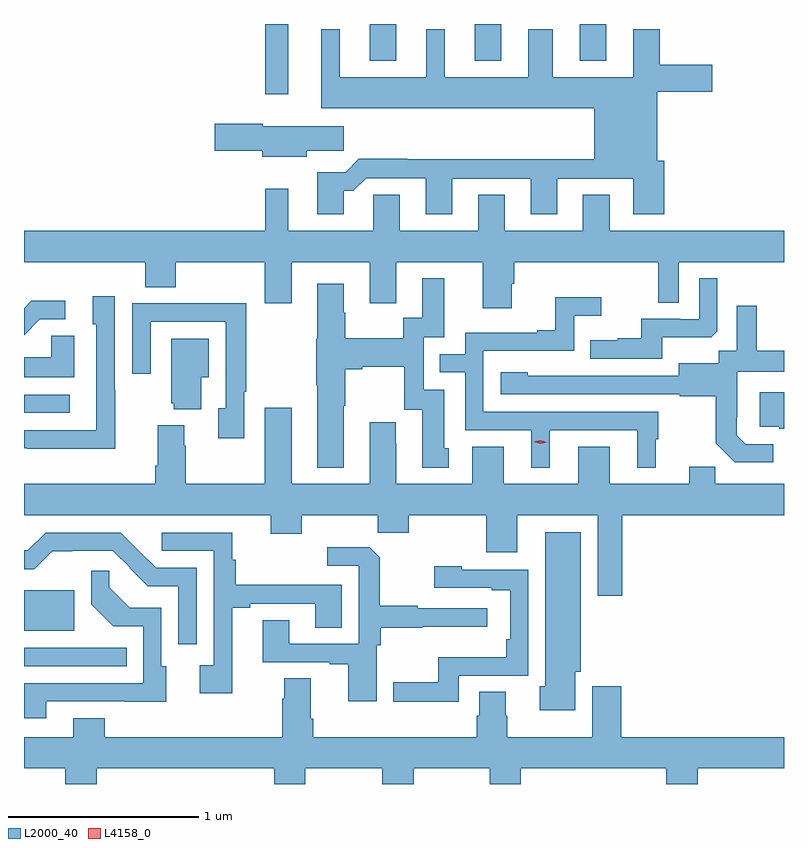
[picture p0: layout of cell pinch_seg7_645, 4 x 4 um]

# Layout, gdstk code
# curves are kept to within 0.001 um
import gdstk
lib = gdstk.Library(unit=1e-6, precision=1e-09)
def R(c, l, rs):  # rectangles x0, y0, x1, y1
    for r in rs: c.add(gdstk.rectangle(r[:2], r[2:], *l))
def A(c, l, x, y, w, h, nx, ny, dx, dy):  # array of equal rectangles
    R(c, l, [(x+i*dx, y+j*dy, x+i*dx+w, y+j*dy+h) for i in range(nx) for j in range(ny)])
def P(c, l, *ps):  # polygons
    for p in ps: c.add(gdstk.Polygon(p, *l))
L2000_40 = (2000, 40)
L4158_0 = (4158, 0)

pinch_seg7_645 = lib.new_cell('pinch_seg7_645')
A(pinch_seg7_645, L2000_40, 220.763, 1038.971, 0.14, 0.194, 3, 1, 0.552, 0)
R(pinch_seg7_645, L2000_40, [(218.943,1035.786,219.485,1035.882), (218.943,1035.971,219.208,1036.186), (218.943,1037.118,219.184,1037.214), (220.212,1038.795,220.333,1039.165)])
P(pinch_seg7_645, L2000_40, [(220.627,1038.287),(220.676,1038.287),(220.743,1038.354),(221.057,1038.354),(221.057,1038.165),(221.197,1038.165),(221.197,1038.351),(221.609,1038.351),(221.609,1038.165),(221.749,1038.165),(221.749,1038.351),(222.149,1038.351),(222.149,1038.165),(222.314,1038.165),(222.314,1038.444),(222.277,1038.444),(222.277,1038.809),(222.565,1038.809),(222.565,1038.951),(222.29,1038.951),(222.29,1039.138),(222.149,1039.138),(222.149,1038.886),(221.725,1038.886),(221.725,1039.138),(221.597,1039.138),(221.597,1038.886),(221.158,1038.886),(221.158,1039.138),(221.06,1039.138),(221.06,1038.886),(220.606,1038.886),(220.606,1039.138),(220.508,1039.138),(220.508,1038.722),(221.945,1038.722),(221.945,1038.452),(220.961,1038.452),(220.961,1038.455),(220.706,1038.455),(220.636,1038.385),(220.487,1038.385),(220.487,1038.165),(220.627,1038.165)],
  [(220.432,1038.499),(220.627,1038.499),(220.627,1038.628),(220.2,1038.628),(220.2,1038.641),(219.948,1038.641),(219.948,1038.499),(220.196,1038.499),(220.196,1038.467),(220.432,1038.467)],
  [(221.509,1037.799),(221.522,1037.799),(221.522,1037.912),(222.282,1037.912),(222.282,1037.698),(222.39,1037.698),(222.39,1037.912),(222.943,1037.912),(222.943,1038.076),(222.025,1038.076),(222.025,1038.266),(221.885,1038.266),(221.885,1038.076),(221.473,1038.076),(221.473,1038.266),(221.333,1038.266),(221.333,1038.076),(220.921,1038.076),(220.921,1038.266),(220.782,1038.266),(220.782,1038.076),(220.333,1038.076),(220.333,1038.298),(220.212,1038.298),(220.212,1038.076),(218.943,1038.076),(218.943,1037.912),(219.581,1037.912),(219.581,1037.779),(219.741,1037.779),(219.741,1037.912),(220.211,1037.912),(220.211,1037.694),(220.351,1037.694),(220.351,1037.912),(220.763,1037.912),(220.763,1037.694),(220.903,1037.694),(220.903,1037.912),(221.357,1037.912),(221.357,1037.67),(221.509,1037.67)],
  [(220.627,1037.155),(220.635,1037.155),(220.635,1037.348),(220.723,1037.348),(220.723,1037.36),(220.943,1037.36),(220.943,1037.136),(221.039,1037.136),(221.039,1036.83),(221.179,1036.83),(221.179,1036.932),(221.155,1036.932),(221.155,1037.241),(221.046,1037.241),(221.046,1037.517),(221.155,1037.517),(221.155,1037.827),(221.039,1037.827),(221.039,1037.618),(220.938,1037.618),(220.938,1037.512),(220.635,1037.512),(220.635,1037.646),(220.627,1037.646),(220.627,1037.797),(220.487,1037.797),(220.487,1037.508),(220.48,1037.508),(220.48,1037.264),(220.487,1037.264),(220.487,1036.829),(220.627,1036.829)],
  [(222.301,1037.516),(222.559,1037.516),(222.591,1037.547),(222.591,1037.827),(222.498,1037.827),(222.498,1037.61),(222.398,1037.61),(222.398,1037.613),(222.191,1037.613),(222.191,1037.512),(222.067,1037.512),(222.067,1037.5),(221.923,1037.5),(221.923,1037.403),(222.301,1037.403)],
  [(219.423,1037.237),(219.42,1037.237),(219.42,1037.731),(219.305,1037.731),(219.305,1037.586),(219.324,1037.586),(219.324,1037.028),(218.943,1037.028),(218.943,1036.932),(218.959,1036.932),(218.959,1036.93),(219.423,1036.93)],
  [(221.71,1037.028),(222.17,1037.028),(222.17,1036.829),(222.268,1036.829),(222.268,1036.98),(222.28,1036.98),(222.28,1037.124),(221.361,1037.124),(221.361,1037.445),(221.838,1037.445),(221.838,1037.63),(221.98,1037.63),(221.98,1037.728),(221.74,1037.728),(221.74,1037.554),(221.645,1037.554),(221.645,1037.541),(221.265,1037.541),(221.265,1037.427),(221.131,1037.427),(221.131,1037.331),(221.265,1037.331),(221.265,1037.028),(221.612,1037.028),(221.612,1036.829),(221.71,1036.829)],
  [(219.025,1037.61),(219.16,1037.61),(219.16,1037.708),(218.981,1037.708),(218.943,1037.67),(218.943,1037.528)],
  [(220.101,1037.23),(220.114,1037.23),(220.114,1037.696),(219.829,1037.696),(219.829,1037.694),(219.513,1037.694),(219.513,1037.325),(219.609,1037.325),(219.609,1037.598),(220.005,1037.598),(220.005,1037.142),(219.965,1037.142),(219.965,1036.986),(220.101,1036.986)],
  [(222.886,1036.953),(222.741,1036.953),(222.694,1037),(222.694,1037.095),(222.696,1037.095),(222.696,1037.336),(222.943,1037.336),(222.943,1037.446),(222.799,1037.446),(222.799,1037.683),(222.695,1037.683),(222.695,1037.444),(222.6,1037.444),(222.6,1037.38),(222.389,1037.38),(222.389,1037.313),(221.595,1037.314),(221.595,1037.332),(221.451,1037.332),(221.451,1037.217),(222.393,1037.217),(222.393,1037.205),(222.585,1037.205),(222.585,1036.959),(222.685,1036.859),(222.886,1036.859)],
  [(219.208,1037.525),(219.087,1037.525),(219.087,1037.41),(218.943,1037.41),(218.943,1037.306),(219.208,1037.306)],
  [(219.877,1037.306),(219.916,1037.306),(219.916,1037.509),(219.719,1037.509),(219.719,1037.169),(219.731,1037.169),(219.731,1037.138),(219.877,1037.138)],
  [(222.943,1037.227),(222.815,1037.227),(222.815,1037.046),(222.919,1037.046),(222.919,1037.034),(222.943,1037.034)],
  [(222.092,1036.58),(222.943,1036.58),(222.943,1036.744),(222.581,1036.744),(222.581,1036.835),(222.443,1036.835),(222.443,1036.744),(222.025,1036.744),(222.025,1036.939),(221.861,1036.939),(221.861,1036.744),(221.467,1036.744),(221.467,1036.939),(221.303,1036.939),(221.303,1036.744),(220.903,1036.744),(220.903,1036.955),(220.9,1036.955),(220.9,1037.068),(220.763,1037.068),(220.763,1036.744),(220.351,1036.744),(220.351,1037.146),(220.211,1037.146),(220.211,1036.744),(219.795,1036.744),(219.795,1036.946),(219.787,1036.946),(219.787,1037.053),(219.647,1037.053),(219.647,1036.84),(219.635,1036.84),(219.635,1036.744),(218.943,1036.744),(218.943,1036.58),(220.241,1036.58),(220.241,1036.481),(220.405,1036.481),(220.405,1036.58),(220.805,1036.58),(220.805,1036.487),(220.969,1036.487),(220.969,1036.58),(221.375,1036.58),(221.375,1036.386),(221.539,1036.386),(221.539,1036.58),(221.963,1036.58),(221.963,1036.155),(222.092,1036.155)],
  [(221.845,1035.756),(221.872,1035.756),(221.872,1036.489),(221.687,1036.489),(221.687,1035.68),(221.657,1035.68),(221.657,1035.554),(221.845,1035.554)],
  [(220.039,1036.093),(220.135,1036.093),(220.135,1036.113),(220.475,1036.113),(220.475,1035.988),(220.615,1035.988),(220.615,1036.214),(220.058,1036.214),(220.058,1036.346),(220.04,1036.346),(220.04,1036.488),(219.669,1036.488),(219.669,1036.392),(219.942,1036.392),(219.942,1035.79),(219.867,1035.79),(219.867,1035.642),(220.039,1035.642)],
  [(219.852,1036.302),(219.639,1036.302),(219.451,1036.488),(219.057,1036.488),(218.963,1036.394),(218.943,1036.394),(218.943,1036.296),(218.997,1036.296),(219.092,1036.391),(219.411,1036.392),(219.501,1036.302),(219.499,1036.3),(219.593,1036.206),(219.756,1036.206),(219.756,1035.9),(219.852,1035.9)],
  [(220.8,1035.896),(220.82,1035.896),(220.82,1035.988),(221.039,1035.988),(221.039,1035.992),(221.38,1035.992),(221.38,1036.089),(221.015,1036.089),(221.015,1036.102),(220.815,1036.102),(220.815,1036.359),(220.763,1036.411),(220.539,1036.411),(220.539,1036.314),(220.704,1036.314),(220.704,1035.903),(220.339,1035.903),(220.339,1036.028),(220.199,1036.028),(220.199,1035.807),(220.553,1035.807),(220.553,1035.795),(220.649,1035.795),(220.649,1035.6),(220.8,1035.6)],
  [(221.232,1035.735),(221.598,1035.735),(221.598,1036.293),(221.247,1036.293),(221.247,1036.312),(221.103,1036.312),(221.103,1036.197),(221.405,1036.197),(221.405,1036.185),(221.502,1036.185),(221.502,1035.928),(221.482,1035.928),(221.482,1035.832),(221.124,1035.832),(221.124,1035.701),(220.887,1035.701),(220.887,1035.599),(221.232,1035.599)],
  [(219.061,1035.6),(219.691,1035.599),(219.691,1035.786),(219.666,1035.786),(219.666,1036.092),(219.5,1036.092),(219.392,1036.2),(219.392,1036.288),(219.297,1036.288),(219.297,1036.112),(219.413,1035.996),(219.57,1035.996),(219.57,1035.696),(218.943,1035.696),(218.943,1035.51),(219.061,1035.51)],
  [(219.326,1035.248),(220.259,1035.248),(220.259,1035.165),(220.423,1035.165),(220.423,1035.248),(220.829,1035.248),(220.829,1035.165),(220.993,1035.165),(220.993,1035.248),(221.393,1035.248),(221.393,1035.165),(221.557,1035.165),(221.557,1035.248),(222.323,1035.248),(222.323,1035.165),(222.488,1035.165),(222.488,1035.248),(222.943,1035.248),(222.943,1035.412),(222.086,1035.412),(222.086,1035.679),(221.933,1035.679),(221.933,1035.412),(221.487,1035.412),(221.487,1035.525),(221.479,1035.525),(221.479,1035.65),(221.339,1035.65),(221.339,1035.525),(221.327,1035.525),(221.327,1035.412),(220.466,1035.412),(220.466,1035.508),(220.453,1035.508),(220.453,1035.722),(220.313,1035.722),(220.313,1035.614),(220.301,1035.614),(220.301,1035.412),(219.367,1035.412),(219.367,1035.511),(219.203,1035.511),(219.203,1035.412),(218.943,1035.412),(218.943,1035.248),(219.161,1035.248),(219.161,1035.165),(219.326,1035.165)])
P(pinch_seg7_645, L4158_0, [(221.661,1036.955),(221.625,1036.966),(221.625,1036.966),(221.625,1036.966),(221.661,1036.975),(221.697,1036.964),(221.697,1036.964),(221.697,1036.964)])

lib.write_gds('pinch_seg7_645.gds')
